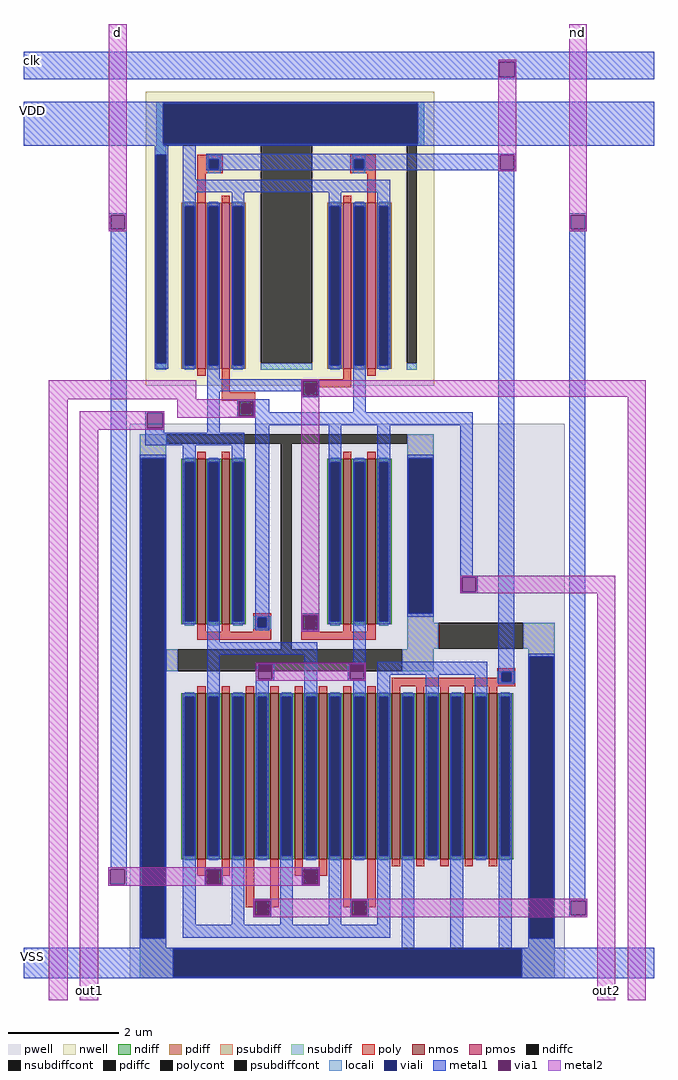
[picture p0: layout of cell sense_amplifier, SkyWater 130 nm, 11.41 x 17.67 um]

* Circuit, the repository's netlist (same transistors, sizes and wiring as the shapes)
** sch_path: /home/ttuser/Documents/tt09-analog-tdc/xschem/sense_amplifier.sch
.subckt sense_amplifier d nd clk out1 out2 VDD VSS
*.PININFO VDD:B d:I out1:O VSS:B nd:I clk:I out2:O
XM3 out1 clk VDD VDD sky130_fd_pr__pfet_01v8 L=0.15 W=3 nf=1 m=1
XM4 out2 clk VDD VDD sky130_fd_pr__pfet_01v8 L=0.15 W=3 nf=1 m=1
XM5 out2 out1 VDD VDD sky130_fd_pr__pfet_01v8 L=0.15 W=3 nf=1 m=1
XM6 out1 out2 VDD VDD sky130_fd_pr__pfet_01v8 L=0.15 W=3 nf=1 m=1
XM7 out2 out1 net3 VSS sky130_fd_pr__nfet_01v8 L=0.15 W=3 nf=1 m=1
XM8 out1 out2 net1 VSS sky130_fd_pr__nfet_01v8 L=0.15 W=3 nf=1 m=1
XM9 net2 clk VSS VSS sky130_fd_pr__nfet_01v8 L=0.15 W=3 nf=1 m=1
XM10 net3 nd net2 VSS sky130_fd_pr__nfet_01v8 L=0.15 W=3 nf=1 m=1
XM11 net1 d net2 VSS sky130_fd_pr__nfet_01v8 L=0.15 W=3 nf=1 m=1
XM1 out1 out2 net1 VSS sky130_fd_pr__nfet_01v8 L=0.15 W=3 nf=1 m=1
XM2 net1 d net2 VSS sky130_fd_pr__nfet_01v8 L=0.15 W=3 nf=1 m=1
XM12 net1 d net2 VSS sky130_fd_pr__nfet_01v8 L=0.15 W=3 nf=1 m=1
XM13 net1 d net2 VSS sky130_fd_pr__nfet_01v8 L=0.15 W=3 nf=1 m=1
XM14 net3 nd net2 VSS sky130_fd_pr__nfet_01v8 L=0.15 W=3 nf=1 m=1
XM15 net3 nd net2 VSS sky130_fd_pr__nfet_01v8 L=0.15 W=3 nf=1 m=1
XM16 net3 nd net2 VSS sky130_fd_pr__nfet_01v8 L=0.15 W=3 nf=1 m=1
XM17 out2 out1 net3 VSS sky130_fd_pr__nfet_01v8 L=0.15 W=3 nf=1 m=1
XM18 net2 clk VSS VSS sky130_fd_pr__nfet_01v8 L=0.15 W=3 nf=1 m=1
XM19 net2 clk VSS VSS sky130_fd_pr__nfet_01v8 L=0.15 W=3 nf=1 m=1
XM20 net2 clk VSS VSS sky130_fd_pr__nfet_01v8 L=0.15 W=3 nf=1 m=1
XM21 net2 clk VSS VSS sky130_fd_pr__nfet_01v8 L=0.15 W=3 nf=1 m=1
.ends
.end

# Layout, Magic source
magic
tech sky130A
magscale 1 2
<< nwell >>
rect -72 4960 972 5300
rect -72 4908 20 4960
rect 62 4946 108 4960
rect 110 4952 218 4960
rect -72 4296 28 4908
rect -72 4236 20 4296
rect 326 4236 548 4960
rect 854 4236 972 4960
<< pwell >>
rect 226 4120 324 4124
rect -130 2090 1444 4098
<< psubdiff >>
rect -94 3974 2 4060
rect 874 3974 970 4060
rect 874 3378 970 3412
rect 874 3284 986 3378
rect 1294 3284 1408 3378
rect 874 3282 970 3284
rect 2 3202 44 3282
rect 856 3202 970 3282
rect 1312 3254 1408 3284
rect -94 2202 2 2236
rect 1312 2202 1408 2236
rect -94 2090 26 2202
rect 1288 2090 1408 2202
<< nsubdiff >>
rect -34 5106 -10 5264
rect 912 5106 936 5264
rect -34 5072 2 5106
rect -34 4294 2 4318
rect 344 4294 530 4318
rect 872 4294 908 4318
<< psubdiffcont >>
rect 2 4026 874 4060
rect -94 2236 2 3974
rect 416 3282 456 4026
rect 874 3412 970 3974
rect 986 3284 1294 3378
rect 44 3202 856 3282
rect 1312 2236 1408 3254
rect 26 2090 1288 2202
<< nsubdiffcont >>
rect -10 5106 912 5264
rect -34 4318 2 5072
rect 344 4318 530 5106
rect 872 4318 908 5106
<< poly >>
rect 114 5056 206 5072
rect 114 5022 158 5056
rect 192 5022 206 5056
rect 114 5006 206 5022
rect 114 4924 144 5006
rect 668 5056 760 5072
rect 668 5022 682 5056
rect 716 5022 760 5056
rect 668 5006 760 5022
rect 730 4924 760 5006
rect 202 4212 232 4272
rect 642 4260 672 4274
rect 490 4244 672 4260
rect 202 4182 324 4212
rect 490 4210 506 4244
rect 540 4230 672 4244
rect 540 4210 556 4230
rect 490 4194 556 4210
rect 258 4170 324 4182
rect 258 4136 274 4170
rect 308 4136 324 4170
rect 258 4120 324 4136
rect 316 3396 382 3412
rect 316 3362 332 3396
rect 366 3362 382 3396
rect 316 3346 382 3362
rect 114 3316 382 3346
rect 490 3396 556 3412
rect 490 3362 506 3396
rect 540 3362 556 3396
rect 490 3346 556 3362
rect 490 3316 760 3346
rect 1200 3198 1266 3214
rect 1200 3178 1216 3198
rect 818 3164 1216 3178
rect 1250 3164 1266 3198
rect 818 3148 1266 3164
rect 114 2492 144 2496
rect 202 2492 232 2496
rect 114 2476 232 2492
rect 114 2462 156 2476
rect 140 2442 156 2462
rect 190 2462 232 2476
rect 190 2442 206 2462
rect 140 2426 206 2442
rect 290 2378 320 2496
rect 378 2378 408 2496
rect 466 2492 496 2496
rect 554 2492 584 2496
rect 466 2476 584 2492
rect 466 2462 508 2476
rect 492 2442 508 2462
rect 542 2462 584 2476
rect 542 2442 558 2462
rect 492 2426 558 2442
rect 290 2362 408 2378
rect 290 2348 332 2362
rect 316 2328 332 2348
rect 366 2348 408 2362
rect 642 2378 672 2496
rect 730 2378 760 2496
rect 642 2362 760 2378
rect 642 2348 684 2362
rect 366 2328 382 2348
rect 316 2312 382 2328
rect 668 2328 684 2348
rect 718 2348 760 2362
rect 718 2328 734 2348
rect 668 2312 734 2328
<< polycont >>
rect 158 5022 192 5056
rect 682 5022 716 5056
rect 506 4210 540 4244
rect 274 4136 308 4170
rect 332 3362 366 3396
rect 506 3362 540 3396
rect 1216 3164 1250 3198
rect 156 2442 190 2476
rect 508 2442 542 2476
rect 332 2328 366 2362
rect 684 2328 718 2362
<< locali >>
rect -34 5106 -10 5264
rect 912 5106 936 5264
rect -34 5072 2 5106
rect 152 5056 198 5072
rect 152 5022 158 5056
rect 192 5022 198 5056
rect 152 5006 198 5022
rect -34 4294 2 4318
rect 676 5056 722 5072
rect 676 5022 682 5056
rect 716 5022 722 5056
rect 676 5006 722 5022
rect 344 4294 530 4318
rect 872 4294 908 4318
rect 500 4244 546 4260
rect 500 4210 506 4244
rect 540 4210 546 4244
rect 500 4194 546 4210
rect 268 4170 314 4188
rect 268 4136 274 4170
rect 308 4136 314 4170
rect 268 4120 314 4136
rect -94 3974 2 4060
rect 316 3396 382 3402
rect 316 3362 332 3396
rect 366 3362 382 3396
rect 316 3356 382 3362
rect 874 3974 970 4060
rect 490 3396 556 3402
rect 490 3362 506 3396
rect 540 3362 556 3396
rect 490 3356 556 3362
rect 874 3378 970 3412
rect 874 3284 986 3378
rect 1294 3284 1408 3378
rect 874 3282 970 3284
rect 2 3202 44 3282
rect 856 3202 970 3282
rect 1312 3254 1408 3284
rect 1200 3198 1266 3202
rect 1200 3164 1216 3198
rect 1250 3164 1266 3198
rect 1200 3160 1266 3164
rect 140 2476 206 2482
rect 140 2442 156 2476
rect 190 2442 206 2476
rect 140 2436 206 2442
rect 492 2476 558 2482
rect 492 2442 508 2476
rect 542 2442 558 2476
rect 492 2436 558 2442
rect 316 2362 382 2368
rect 316 2328 332 2362
rect 366 2328 382 2362
rect 316 2322 382 2328
rect 668 2362 734 2368
rect 668 2328 684 2362
rect 718 2328 734 2362
rect 668 2322 734 2328
rect -94 2202 2 2236
rect 1312 2202 1408 2236
rect -94 2090 26 2202
rect 1288 2090 1408 2202
<< viali >>
rect -10 5112 912 5258
rect -34 4318 2 5072
rect 158 5022 192 5056
rect 682 5022 716 5056
rect 506 4210 540 4244
rect 274 4136 308 4170
rect -88 2236 -4 3974
rect 332 3362 366 3396
rect 880 3412 964 3974
rect 506 3362 540 3396
rect 1216 3164 1250 3198
rect 156 2442 190 2476
rect 508 2442 542 2476
rect 332 2328 366 2362
rect 684 2328 718 2362
rect 1318 2236 1402 3254
rect 26 2096 1288 2196
<< metal1 >>
rect -514 5410 1768 5446
rect -514 5354 1208 5410
rect 1264 5354 1768 5410
rect -514 5346 1768 5354
rect -514 5258 1768 5264
rect -514 5112 -10 5258
rect 912 5112 1768 5258
rect -514 5106 1768 5112
rect -40 5072 8 5106
rect -206 4854 -142 4860
rect -206 4802 -200 4854
rect -148 4802 -142 4854
rect -206 4796 -142 4802
rect -200 2492 -142 4796
rect -40 4318 -34 5072
rect 2 4318 8 5072
rect 62 4982 108 5106
rect 146 5070 1268 5076
rect 146 5056 1210 5070
rect 146 5022 158 5056
rect 192 5022 682 5056
rect 716 5022 1210 5056
rect 146 5018 1210 5022
rect 1262 5018 1268 5070
rect 146 5016 1268 5018
rect 1204 5012 1268 5016
rect 62 4936 812 4982
rect 62 4898 108 4936
rect 238 4898 284 4936
rect 590 4898 636 4936
rect 766 4898 812 4936
rect -40 4298 8 4318
rect 150 4260 196 4298
rect 150 4254 556 4260
rect 150 4216 496 4254
rect -74 4138 -6 4144
rect -74 4082 -68 4138
rect -12 4082 -6 4138
rect -74 4066 -6 4082
rect 150 4066 196 4216
rect 490 4200 496 4216
rect 550 4200 556 4254
rect 490 4194 556 4200
rect 258 4180 374 4188
rect 258 4126 264 4180
rect 318 4140 374 4180
rect 678 4140 724 4298
rect 318 4126 1112 4140
rect 258 4120 1112 4126
rect 324 4094 1112 4120
rect -74 4020 284 4066
rect -208 2486 -142 2492
rect -208 2432 -202 2486
rect -148 2432 -142 2486
rect -208 2426 -142 2432
rect -94 3974 2 3986
rect -94 2236 -88 3974
rect -4 2236 2 3974
rect 62 3972 108 4020
rect 238 3972 284 4020
rect 324 3396 374 4094
rect 590 3972 636 4094
rect 766 3972 812 4094
rect 874 3974 970 3986
rect 874 3412 880 3974
rect 964 3412 970 3974
rect 1066 3548 1112 4094
rect 1066 3542 1130 3548
rect 1066 3490 1072 3542
rect 1124 3490 1130 3542
rect 1066 3484 1130 3490
rect 150 3308 196 3372
rect 324 3362 332 3396
rect 366 3362 374 3396
rect 324 3350 374 3362
rect 490 3406 556 3412
rect 490 3352 496 3406
rect 550 3352 556 3406
rect 874 3400 970 3412
rect 490 3346 556 3352
rect 150 3262 548 3308
rect 150 3122 196 3262
rect 326 3228 392 3234
rect 326 3174 334 3228
rect 386 3174 392 3228
rect 326 3168 392 3174
rect 326 3122 372 3168
rect 502 3122 548 3262
rect 678 3234 724 3372
rect 658 3228 724 3234
rect 658 3174 666 3228
rect 718 3174 724 3228
rect 658 3168 724 3174
rect 678 3122 724 3168
rect 766 3190 1164 3236
rect 766 3122 812 3190
rect 942 3122 988 3190
rect 1118 3122 1164 3190
rect 1204 3198 1262 5012
rect 1460 4854 1524 4860
rect 1460 4802 1466 4854
rect 1518 4802 1524 4854
rect 1460 4796 1524 4802
rect 1204 3164 1216 3198
rect 1250 3164 1262 3198
rect 1204 3156 1262 3164
rect 1312 3254 1408 3266
rect 62 2284 108 2522
rect 140 2486 206 2492
rect 140 2432 146 2486
rect 200 2432 206 2486
rect 140 2426 206 2432
rect 238 2284 284 2522
rect 316 2372 382 2378
rect 316 2318 322 2372
rect 376 2318 382 2372
rect 316 2312 382 2318
rect 414 2284 460 2522
rect 492 2486 558 2492
rect 492 2432 498 2486
rect 552 2432 558 2486
rect 492 2426 558 2432
rect 590 2284 636 2522
rect 668 2372 734 2378
rect 668 2318 674 2372
rect 728 2318 734 2372
rect 668 2312 734 2318
rect 766 2284 812 2522
rect 62 2238 812 2284
rect -94 2202 2 2236
rect 854 2202 900 2522
rect 1030 2202 1076 2522
rect 1206 2202 1252 2522
rect 1312 2236 1318 3254
rect 1402 2236 1408 3254
rect 1460 2378 1518 4796
rect 1460 2372 1526 2378
rect 1460 2318 1466 2372
rect 1520 2318 1526 2372
rect 1460 2312 1526 2318
rect 1312 2202 1408 2236
rect -514 2196 1768 2202
rect -514 2096 26 2196
rect 1288 2096 1768 2196
rect -514 2090 1768 2096
<< via1 >>
rect 1208 5354 1264 5410
rect -200 4802 -148 4854
rect 1210 5018 1262 5070
rect 496 4244 550 4254
rect -68 4082 -12 4138
rect 496 4210 506 4244
rect 506 4210 540 4244
rect 540 4210 550 4244
rect 496 4200 550 4210
rect 264 4170 318 4180
rect 264 4136 274 4170
rect 274 4136 308 4170
rect 308 4136 318 4170
rect 264 4126 318 4136
rect -202 2432 -148 2486
rect 1072 3490 1124 3542
rect 496 3396 550 3406
rect 496 3362 506 3396
rect 506 3362 540 3396
rect 540 3362 550 3396
rect 496 3352 550 3362
rect 334 3174 386 3228
rect 666 3174 718 3228
rect 1466 4802 1518 4854
rect 146 2476 200 2486
rect 146 2442 156 2476
rect 156 2442 190 2476
rect 190 2442 200 2476
rect 146 2432 200 2442
rect 322 2362 376 2372
rect 322 2328 332 2362
rect 332 2328 366 2362
rect 366 2328 376 2362
rect 322 2318 376 2328
rect 498 2476 552 2486
rect 498 2442 508 2476
rect 508 2442 542 2476
rect 542 2442 552 2476
rect 498 2432 552 2442
rect 674 2362 728 2372
rect 674 2328 684 2362
rect 684 2328 718 2362
rect 718 2328 728 2362
rect 674 2318 728 2328
rect 1466 2318 1520 2372
<< metal2 >>
rect -206 4854 -142 5546
rect 1204 5410 1268 5416
rect 1204 5354 1208 5410
rect 1264 5354 1268 5410
rect 1204 5070 1268 5354
rect 1204 5018 1210 5070
rect 1262 5018 1268 5070
rect 1204 5012 1268 5018
rect -206 4802 -200 4854
rect -148 4802 -142 4854
rect -206 4796 -142 4802
rect 1460 4854 1524 5546
rect 1460 4802 1466 4854
rect 1518 4802 1524 4854
rect 1460 4796 1524 4802
rect 490 4256 556 4260
rect -424 4188 110 4256
rect 490 4254 1738 4256
rect 490 4200 496 4254
rect 550 4200 1738 4254
rect 490 4196 1738 4200
rect -424 2012 -356 4188
rect 42 4180 324 4188
rect -312 4138 -6 4144
rect -312 4082 -68 4138
rect -12 4082 -6 4138
rect 42 4126 264 4180
rect 318 4126 324 4180
rect 42 4120 324 4126
rect -312 4076 -6 4082
rect -312 2012 -244 4076
rect 490 3406 556 4196
rect 1066 3542 1628 3548
rect 1066 3490 1072 3542
rect 1124 3490 1628 3542
rect 1066 3484 1628 3490
rect 490 3352 496 3406
rect 550 3352 556 3406
rect 490 3346 556 3352
rect 326 3228 724 3234
rect 326 3174 334 3228
rect 386 3174 666 3228
rect 718 3174 724 3228
rect 326 3168 724 3174
rect -208 2486 558 2492
rect -208 2432 -202 2486
rect -148 2432 146 2486
rect 200 2432 498 2486
rect 552 2432 558 2486
rect -208 2426 558 2432
rect 316 2372 1526 2378
rect 316 2318 322 2372
rect 376 2318 674 2372
rect 728 2318 1466 2372
rect 1520 2318 1526 2372
rect 316 2312 1526 2318
rect 1562 2012 1628 3484
rect 1672 2012 1738 4196
use sky130_fd_pr__nfet_01v8_NM9Y3C  sky130_fd_pr__nfet_01v8_NM9Y3C_0
transform 1 0 129 0 1 2822
box -73 -326 73 326
use sky130_fd_pr__nfet_01v8_NM9Y3C  sky130_fd_pr__nfet_01v8_NM9Y3C_1
transform 1 0 217 0 1 3672
box -73 -326 73 326
use sky130_fd_pr__nfet_01v8_NM9Y3C  sky130_fd_pr__nfet_01v8_NM9Y3C_2
transform 1 0 129 0 1 3672
box -73 -326 73 326
use sky130_fd_pr__nfet_01v8_NM9Y3C  sky130_fd_pr__nfet_01v8_NM9Y3C_3
transform 1 0 657 0 1 3672
box -73 -326 73 326
use sky130_fd_pr__nfet_01v8_NM9Y3C  sky130_fd_pr__nfet_01v8_NM9Y3C_4
transform 1 0 745 0 1 3672
box -73 -326 73 326
use sky130_fd_pr__nfet_01v8_NM9Y3C  sky130_fd_pr__nfet_01v8_NM9Y3C_5
transform 1 0 745 0 1 2822
box -73 -326 73 326
use sky130_fd_pr__nfet_01v8_NM9Y3C  sky130_fd_pr__nfet_01v8_NM9Y3C_6
transform 1 0 217 0 1 2822
box -73 -326 73 326
use sky130_fd_pr__nfet_01v8_NM9Y3C  sky130_fd_pr__nfet_01v8_NM9Y3C_7
transform 1 0 305 0 1 2822
box -73 -326 73 326
use sky130_fd_pr__nfet_01v8_NM9Y3C  sky130_fd_pr__nfet_01v8_NM9Y3C_8
transform 1 0 393 0 1 2822
box -73 -326 73 326
use sky130_fd_pr__nfet_01v8_NM9Y3C  sky130_fd_pr__nfet_01v8_NM9Y3C_9
transform 1 0 1185 0 1 2822
box -73 -326 73 326
use sky130_fd_pr__nfet_01v8_NM9Y3C  sky130_fd_pr__nfet_01v8_NM9Y3C_10
transform 1 0 569 0 1 2822
box -73 -326 73 326
use sky130_fd_pr__nfet_01v8_NM9Y3C  sky130_fd_pr__nfet_01v8_NM9Y3C_11
transform 1 0 657 0 1 2822
box -73 -326 73 326
use sky130_fd_pr__nfet_01v8_NM9Y3C  sky130_fd_pr__nfet_01v8_NM9Y3C_12
transform 1 0 481 0 1 2822
box -73 -326 73 326
use sky130_fd_pr__nfet_01v8_NM9Y3C  sky130_fd_pr__nfet_01v8_NM9Y3C_13
transform 1 0 833 0 1 2822
box -73 -326 73 326
use sky130_fd_pr__nfet_01v8_NM9Y3C  sky130_fd_pr__nfet_01v8_NM9Y3C_14
transform 1 0 921 0 1 2822
box -73 -326 73 326
use sky130_fd_pr__nfet_01v8_NM9Y3C  sky130_fd_pr__nfet_01v8_NM9Y3C_15
transform 1 0 1009 0 1 2822
box -73 -326 73 326
use sky130_fd_pr__nfet_01v8_NM9Y3C  sky130_fd_pr__nfet_01v8_NM9Y3C_16
transform 1 0 1097 0 1 2822
box -73 -326 73 326
use sky130_fd_pr__pfet_01v8_2K9SAN  sky130_fd_pr__pfet_01v8_2K9SAN_0
transform 1 0 745 0 1 4598
box -109 -362 109 362
use sky130_fd_pr__pfet_01v8_2K9SAN  sky130_fd_pr__pfet_01v8_2K9SAN_1
transform 1 0 129 0 1 4598
box -109 -362 109 362
use sky130_fd_pr__pfet_01v8_2K9SAN  sky130_fd_pr__pfet_01v8_2K9SAN_2
transform 1 0 217 0 1 4598
box -109 -362 109 362
use sky130_fd_pr__pfet_01v8_2K9SAN  sky130_fd_pr__pfet_01v8_2K9SAN_3
transform 1 0 657 0 1 4598
box -109 -362 109 362
<< labels >>
rlabel metal2 -206 5482 -142 5546 0 d
port 1 nsew
rlabel metal2 1460 5482 1524 5546 0 nd
port 2 nsew
rlabel metal1 -514 5382 -450 5446 0 clk
port 3 nsew
rlabel metal2 -312 2012 -244 2080 0 out1
port 4 nsew
rlabel metal2 1562 2012 1628 2078 0 out2
port 5 nsew
rlabel metal1 -514 5200 -450 5264 0 VDD
port 6 nsew
rlabel metal1 -514 2138 -450 2202 0 VSS
port 7 nsew
<< end >>

# cell sky130_fd_pr__nfet_01v8_NM9Y3C: kit device sky130_fd_pr__nfet_01v8, w 3 l 0.150 m 1 nf 1 diffcov 100 polycov 100 guard 0 glc 1 grc 1 gtc 1 gbc 1 tbcov 100 rlcov 100 topc 0 botc 0 poverlap 0 doverlap 1 lmin 0.15 wmin 0.42 compatible {sky130_fd_pr__nfet_01v8 sky130_fd_pr__nfet_01v8_lvt sky130_fd_bs_flash__special_sonosfet_star sky130_fd_pr__nfet_g5v0d10v5 sky130_fd_pr__nfet_05v0_nvt sky130_fd_pr__nfet_03v3_nvt} full_metal 1 viasrc 100 viadrn 100 viagate 100 viagb 0 viagr 0 viagl 0 viagt 0

# cell sky130_fd_pr__pfet_01v8_2K9SAN: kit device sky130_fd_pr__pfet_01v8, w 3 l 0.15 m 1 nf 1 diffcov 100 polycov 100 guard 0 glc 1 grc 1 gtc 1 gbc 1 tbcov 100 rlcov 100 topc 0 botc 0 poverlap 0 doverlap 1 lmin 0.15 wmin 0.42 compatible {sky130_fd_pr__pfet_01v8 sky130_fd_pr__pfet_01v8_lvt sky130_fd_pr__pfet_01v8_hvt sky130_fd_pr__pfet_g5v0d10v5} full_metal 1 viasrc 100 viadrn 100 viagate 100 viagb 0 viagr 0 viagl 0 viagt 0
